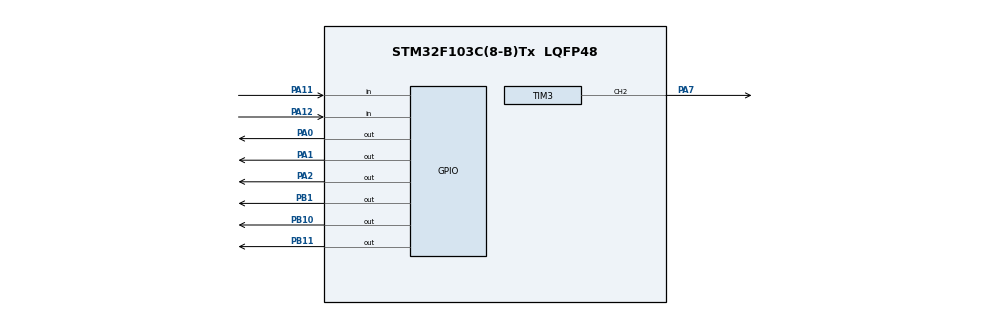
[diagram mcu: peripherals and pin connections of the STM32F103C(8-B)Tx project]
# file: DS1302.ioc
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Mcu.Family=STM32F1
Mcu.Name=STM32F103C(8-B)Tx
Mcu.Package=LQFP48
NVIC.PriorityGroup=NVIC_PRIORITYGROUP_4
PA0-WKUP.Signal=GPIO_Output
PA1.Signal=GPIO_Output
PA11.GPIO_PuPd=GPIO_PULLUP
PA11.Signal=GPIO_Input
PA12.GPIO_PuPd=GPIO_PULLUP
PA12.Signal=GPIO_Input
PA13.Mode=Serial_Wire
PA13.Signal=SYS_JTMS-SWDIO
PA14.Mode=Serial_Wire
PA14.Signal=SYS_JTCK-SWCLK
PA2.Signal=GPIO_Output
PA7.Signal=S_TIM3_CH2
PB1.Signal=GPIO_Output
PB10.Signal=GPIO_Output
PB11.Signal=GPIO_Output
PD0-OSC_IN.Mode=HSE-External-Oscillator
PD0-OSC_IN.Signal=RCC_OSC_IN
PD1-OSC_OUT.Mode=HSE-External-Oscillator
PD1-OSC_OUT.Signal=RCC_OSC_OUT
ProjectManager.HeapSize=0x200
ProjectManager.StackSize=0x400
ProjectManager.TargetToolchain=MDK-ARM V5
RCC.APB1Freq_Value=8000000
RCC.APB2Freq_Value=8000000
SH.S_TIM3_CH2.0=TIM3_CH2,PWM Generation2 CH2
TIM3.Channel-PWM\ Generation2\ CH2=TIM_CHANNEL_2
TIM3.Period=9999
TIM3.Prescaler=72-1
TIM3.Pulse-PWM\ Generation2\ CH2=3333
board=custom

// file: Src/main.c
/* USER CODE BEGIN Header */
/**
  ******************************************************************************
  * @file           : main.c
  * @brief          : Main program body
  ******************************************************************************
  * @attention
  *
  * <h2><center>&copy; Copyright (c) 2019 STMicroelectronics.
  * All rights reserved.</center></h2>
  *
  * This software component is licensed by ST under BSD 3-Clause license,
  * the "License"; You may not use this file except in compliance with the
  * License. You may obtain a copy of the License at:
  *                        opensource.org/licenses/BSD-3-Clause
  *
  ******************************************************************************
  */
/* USER CODE END Header */

#include "main.h"
#include "tim.h"
#include "gpio.h"

/* USER CODE BEGIN Includes */
#include "ds1302.h"
#include "max7219.h"
#include "key.h"
/* USER CODE END Includes */

void SystemClock_Config(void);

/* USER CODE BEGIN 0 */
extern uint8_t DShour,DSminute,DSsecond;
/* USER CODE END 0 */

int main(void)
{
  /* USER CODE BEGIN 1 */
		uint8_t *buf;
	  uint8_t i,j;
	extern int8_t key_num;
  /* USER CODE END 1 */

  /* MCU Configuration--------------------------------------------------------*/

  /* Reset of all peripherals, Initializes the Flash interface and the Systick. */
  HAL_Init();

  /* Configure the system clock */
  SystemClock_Config();

  /* Initialize all configured peripherals */
  MX_GPIO_Init();
  MX_TIM3_Init();
  /* USER CODE BEGIN 2 */
	Init_MAX7219();
  DS1302_Init();
 /*
    for(j=8;j>0;j--)
  {
			for(i=0;i<10;i++){
				Write_Max7219_1(j,i);
				Delay_xms(100);
			}
		Write_Max7219_1(j,0x00);
	}
	*/

  /* USER CODE END 2 */

  /* Infinite loop */
  while (1)
  {

    /* USER CODE BEGIN 3 */
		key_scan();
		time_read();
		Write_Max7219_1(8,DShour/16);
		Write_Max7219_1(7,DShour%16);

		Write_Max7219_1(6,10);

		Write_Max7219_1(5,DSminute/16);
		Write_Max7219_1(4,DSminute%16);

		Write_Max7219_1(3,10);

		Write_Max7219_1(2,(DSsecond&0x70)>>4);
		Write_Max7219_1(1,(DSsecond&0x0f));

  }
  /* USER CODE END 3 */
}

void SystemClock_Config(void)
{
  RCC_OscInitTypeDef RCC_OscInitStruct = {0};
  RCC_ClkInitTypeDef RCC_ClkInitStruct = {0};

  /** Initializes the CPU, AHB and APB busses clocks
  */
  RCC_OscInitStruct.OscillatorType = RCC_OSCILLATORTYPE_HSI;
  RCC_OscInitStruct.HSIState = RCC_HSI_ON;
  RCC_OscInitStruct.HSICalibrationValue = RCC_HSICALIBRATION_DEFAULT;
  RCC_OscInitStruct.PLL.PLLState = RCC_PLL_NONE;
  if (HAL_RCC_OscConfig(&RCC_OscInitStruct) != HAL_OK)
  {
    Error_Handler();
  }
  /** Initializes the CPU, AHB and APB busses clocks
  */
  RCC_ClkInitStruct.ClockType = RCC_CLOCKTYPE_HCLK|RCC_CLOCKTYPE_SYSCLK
                              |RCC_CLOCKTYPE_PCLK1|RCC_CLOCKTYPE_PCLK2;
  RCC_ClkInitStruct.SYSCLKSource = RCC_SYSCLKSOURCE_HSI;
  RCC_ClkInitStruct.AHBCLKDivider = RCC_SYSCLK_DIV1;
  RCC_ClkInitStruct.APB1CLKDivider = RCC_HCLK_DIV1;
  RCC_ClkInitStruct.APB2CLKDivider = RCC_HCLK_DIV1;

  if (HAL_RCC_ClockConfig(&RCC_ClkInitStruct, FLASH_LATENCY_0) != HAL_OK)
  {
    Error_Handler();
  }
}

void Error_Handler(void)
{
}

/************************ (C) COPYRIGHT STMicroelectronics *****END OF FILE****/
